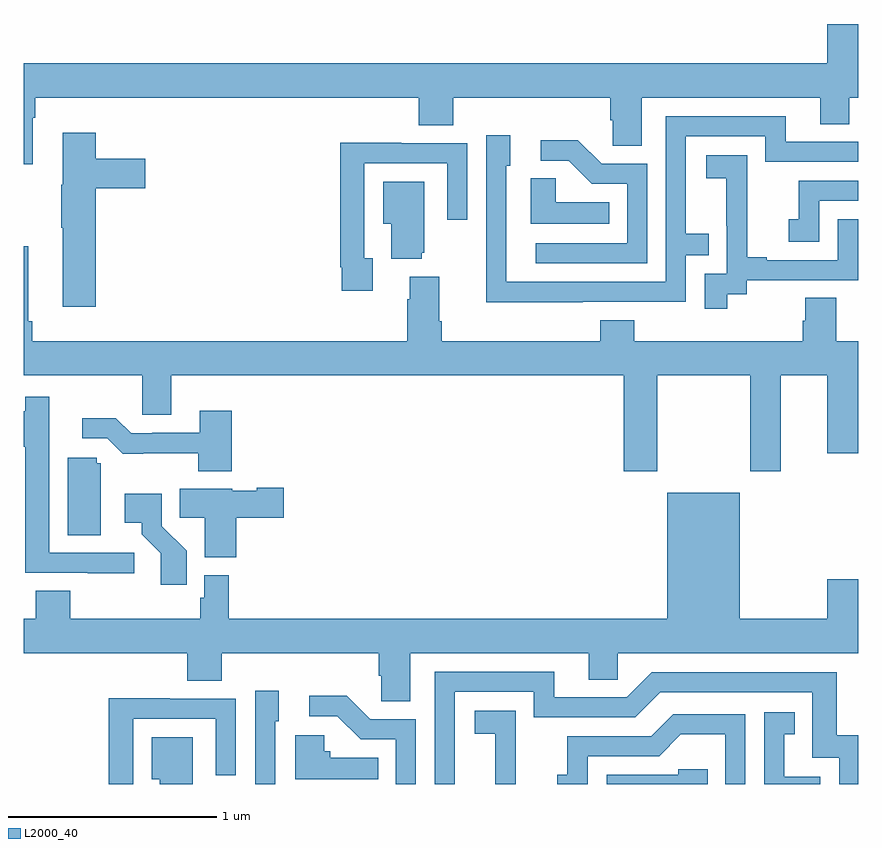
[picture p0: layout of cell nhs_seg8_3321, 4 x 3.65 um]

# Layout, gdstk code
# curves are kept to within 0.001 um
import gdstk
lib = gdstk.Library(unit=1e-6, precision=1e-09)
def P(c, l, *ps):  # polygons
    for p in ps: c.add(gdstk.Polygon(p, *l))
L2000_40 = (2000, 40)

nhs_seg8_3321 = lib.new_cell('nhs_seg8_3321')
P(nhs_seg8_3321, L2000_40, [(317.041,1091.096),(317.054,1091.096),(317.054,1091.192),(318.893,1091.192),(318.893,1091.059),(319.058,1091.059),(319.058,1091.192),(319.811,1091.192),(319.811,1091.083),(319.824,1091.083),(319.824,1090.96),(319.963,1090.96),(319.963,1091.192),(320.819,1091.192),(320.819,1091.065),(320.958,1091.065),(320.958,1091.192),(321,1091.192),(321,1091.545),(320.852,1091.545),(320.852,1091.356),(317,1091.356),(317,1090.872),(317.041,1090.872)],
  [(319.679,1090.212),(320.175,1090.212),(320.175,1090.437),(320.285,1090.437),(320.285,1090.538),(320.175,1090.538),(320.175,1091.007),(320.556,1091.007),(320.556,1090.884),(321,1090.884),(321,1090.98),(320.653,1090.98),(320.653,1091.103),(320.079,1091.103),(320.079,1090.308),(319.314,1090.308),(319.314,1090.866),(319.333,1090.866),(319.333,1091.011),(319.218,1091.011),(319.218,1090.517),(319.216,1090.517),(319.216,1090.211),(319.679,1090.211)],
  [(317.345,1090.757),(317.581,1090.757),(317.581,1090.899),(317.345,1090.899),(317.345,1091.023),(317.186,1091.023),(317.186,1090.773),(317.179,1090.773),(317.179,1090.567),(317.186,1090.567),(317.186,1090.188),(317.345,1090.188)],
  [(319.989,1090.875),(319.77,1090.875),(319.657,1090.988),(319.479,1090.988),(319.479,1090.89),(319.613,1090.89),(319.724,1090.779),(319.893,1090.779),(319.893,1090.494),(319.455,1090.494),(319.455,1090.398),(319.989,1090.398)],
  [(318.673,1090.422),(318.633,1090.422),(318.633,1090.878),(319.029,1090.878),(319.029,1090.605),(319.125,1090.605),(319.125,1090.974),(318.809,1090.974),(318.809,1090.976),(318.517,1090.976),(318.517,1090.378),(318.525,1090.378),(318.525,1090.266),(318.673,1090.266)],
  [(320.374,1090.249),(320.466,1090.249),(320.466,1090.317),(321,1090.317),(321,1090.608),(320.904,1090.608),(320.904,1090.413),(320.563,1090.413),(320.563,1090.426),(320.468,1090.426),(320.468,1090.709),(320.469,1090.709),(320.469,1090.915),(320.271,1090.915),(320.271,1090.805),(320.369,1090.805),(320.369,1090.577),(320.37,1090.577),(320.37,1090.347),(320.265,1090.347),(320.265,1090.179),(320.374,1090.179)],
  [(319.808,1090.69),(319.551,1090.69),(319.551,1090.805),(319.43,1090.805),(319.43,1090.586),(319.808,1090.586)],
  [(320.814,1090.698),(321,1090.698),(321,1090.794),(320.716,1090.794),(320.716,1090.609),(320.667,1090.609),(320.667,1090.5),(320.814,1090.5)],
  [(318.908,1090.449),(318.919,1090.449),(318.919,1090.789),(318.722,1090.789),(318.722,1090.586),(318.761,1090.586),(318.761,1090.418),(318.908,1090.418)],
  [(320.037,1089.86),(320.482,1089.86),(320.482,1089.399),(320.629,1089.399),(320.629,1089.86),(320.852,1089.86),(320.852,1089.486),(321,1089.486),(321,1090.024),(320.895,1090.024),(320.895,1090.232),(320.747,1090.232),(320.747,1090.122),(320.735,1090.122),(320.735,1090.024),(319.928,1090.024),(319.928,1090.123),(319.763,1090.123),(319.763,1090.024),(319.004,1090.024),(319.004,1090.12),(318.991,1090.12),(318.991,1090.333),(318.851,1090.333),(318.851,1090.226),(318.839,1090.226),(318.839,1090.024),(317.039,1090.024),(317.039,1090.12),(317.02,1090.12),(317.02,1090.48),(317,1090.48),(317,1089.86),(317.568,1089.86),(317.568,1089.67),(317.707,1089.67),(317.707,1089.86),(319.877,1089.86),(319.877,1089.399),(320.037,1089.399)],
  [(317.53,1089.009),(317.121,1089.009),(317.121,1089.534),(317.122,1089.534),(317.122,1089.757),(317.005,1089.757),(317.005,1089.688),(317,1089.688),(317,1089.518),(317.005,1089.518),(317.005,1088.913),(317.305,1088.913),(317.305,1088.911),(317.53,1088.911)],
  [(317.996,1089.691),(317.843,1089.691),(317.843,1089.585),(317.614,1089.585),(317.614,1089.582),(317.514,1089.582),(317.441,1089.655),(317.28,1089.655),(317.28,1089.558),(317.4,1089.558),(317.473,1089.485),(317.836,1089.486),(317.836,1089.401),(317.996,1089.401)],
  [(317.368,1089.438),(317.349,1089.438),(317.349,1089.465),(317.21,1089.465),(317.21,1089.094),(317.368,1089.094)],
  [(318.017,1089.178),(318.247,1089.178),(318.247,1089.32),(318.117,1089.32),(318.117,1089.307),(318,1089.307),(318,1089.316),(317.746,1089.316),(317.746,1089.178),(317.867,1089.178),(317.867,1088.987),(318.017,1088.987)],
  [(318.853,1088.528),(319.709,1088.528),(319.709,1088.401),(319.848,1088.401),(319.848,1088.528),(321,1088.528),(321,1088.881),(320.852,1088.881),(320.852,1088.692),(320.434,1088.692),(320.434,1089.298),(320.084,1089.298),(320.084,1088.692),(317.981,1088.692),(317.981,1088.902),(317.865,1088.902),(317.865,1088.793),(317.845,1088.793),(317.845,1088.692),(317.222,1088.692),(317.222,1088.828),(317.057,1088.828),(317.057,1088.692),(317,1088.692),(317,1088.528),(317.783,1088.528),(317.783,1088.395),(317.948,1088.395),(317.948,1088.528),(318.701,1088.528),(318.701,1088.419),(318.714,1088.419),(318.714,1088.296),(318.853,1088.296)],
  [(317.78,1089.018),(317.661,1089.137),(317.661,1089.292),(317.484,1089.292),(317.484,1089.152),(317.564,1089.152),(317.564,1089.097),(317.655,1089.007),(317.655,1088.856),(317.78,1088.856)],
  [(319.065,1088.343),(319.446,1088.343),(319.446,1088.22),(319.932,1088.22),(320.052,1088.34),(320.781,1088.34),(320.781,1088.025),(320.91,1088.025),(320.91,1087.9),(321,1087.9),(321,1088.134),(320.897,1088.134),(320.897,1088.436),(320.01,1088.436),(319.89,1088.316),(319.543,1088.316),(319.543,1088.439),(318.969,1088.439),(318.969,1087.9),(319.065,1087.9)],
  [(318.204,1088.202),(318.223,1088.202),(318.223,1088.347),(318.108,1088.347),(318.108,1087.9),(318.204,1087.9)],
  [(318.879,1088.211),(318.66,1088.211),(318.547,1088.324),(318.369,1088.324),(318.369,1088.226),(318.503,1088.226),(318.614,1088.115),(318.783,1088.115),(318.783,1087.9),(318.879,1087.9)],
  [(317.523,1088.214),(317.919,1088.214),(317.919,1087.941),(318.015,1087.941),(318.015,1088.31),(317.699,1088.31),(317.699,1088.312),(317.407,1088.312),(317.407,1087.9),(317.523,1087.9)],
  [(319.358,1088.045),(319.359,1088.045),(319.359,1088.251),(319.161,1088.251),(319.161,1088.141),(319.259,1088.141),(319.259,1087.913),(319.26,1087.913),(319.26,1087.9),(319.358,1087.9)],
  [(320.82,1087.935),(320.647,1087.935),(320.647,1088.139),(320.696,1088.139),(320.696,1088.245),(320.55,1088.245),(320.55,1087.9),(320.82,1087.9)],
  [(319.704,1088.034),(320.046,1088.034),(320.15,1088.138),(320.364,1088.138),(320.364,1087.9),(320.46,1087.9),(320.46,1088.235),(320.114,1088.235),(320.009,1088.13),(319.606,1088.13),(319.606,1087.945),(319.557,1087.945),(319.557,1087.9),(319.704,1087.9)],
  [(318.698,1088.026),(318.468,1088.026),(318.468,1088.058),(318.441,1088.058),(318.441,1088.134),(318.302,1088.134),(318.302,1087.922),(318.698,1087.922)],
  [(317.809,1088.125),(317.612,1088.125),(317.612,1087.922),(317.651,1087.922),(317.651,1087.9),(317.809,1087.9)],
  [(320.279,1087.971),(320.139,1087.971),(320.139,1087.944),(319.794,1087.944),(319.794,1087.9),(320.279,1087.9)])

lib.write_gds('nhs_seg8_3321.gds')
